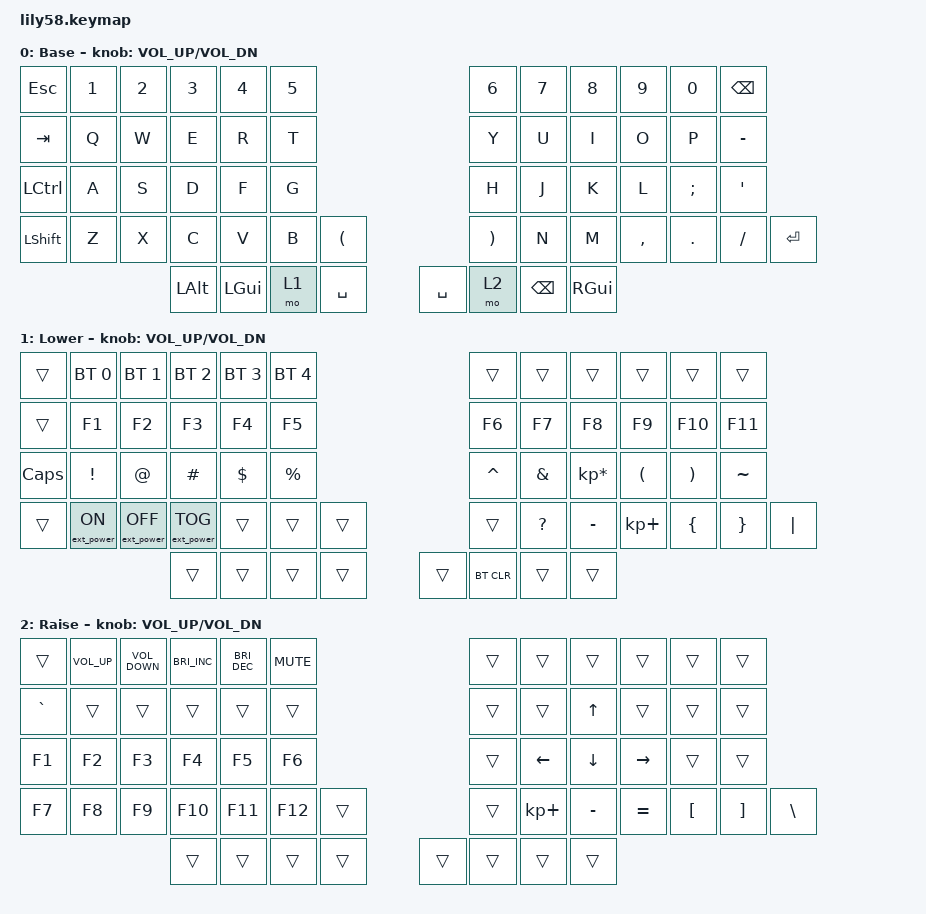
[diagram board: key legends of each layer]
/*
 * Copyright (c) 2020 The ZMK Contributors
 *
 * SPDX-License-Identifier: MIT
 */

#include <behaviors.dtsi>
#include <dt-bindings/zmk/keys.h>
#include <dt-bindings/zmk/bt.h>
#include <dt-bindings/zmk/ext_power.h>

/ {
    keymap {
        compatible = "zmk,keymap";

        default_layer {
// ------------------------------------------------------------------------------------------------------------
// |  ESC  |  1  |  2  |  3   |  4   |  5   |                   |  6   |  7    |  8    |  9   |   0   |   `   |
// |  TAB  |  Q  |  W  |  E   |  R   |  T   |                   |  Y   |  U    |  I    |  O   |   P   |   -   |
// |  CTRL |  A  |  S  |  D   |  F   |  G   |                   |  H   |  J    |  K    |  L   |   ;   |   '   |
// | SHIFT |  Z  |  X  |  C   |  V   |  B   |   "["  |  |  "]"  |  N   |  M    |  ,    |  .   |   /   | ENTER |
//                     | ALT  | GUI  | LOWER|  SPACE |  | SPACE | RAISE| BSPC  | GUI   |
label = "Base";
            bindings = <
&kp ESC   &kp N1 &kp N2 &kp N3   &kp N4   &kp N5                     &kp N6 &kp N7   &kp N8    &kp N9  &kp N0   &kp BSPC
&kp TAB   &kp Q  &kp W  &kp E    &kp R    &kp T                      &kp Y  &kp U    &kp I     &kp O   &kp P    &kp MINUS
&kp LCTRL &kp A  &kp S  &kp D    &kp F    &kp G                      &kp H  &kp J    &kp K     &kp L   &kp SEMI &kp SQT
&kp LSHFT &kp Z  &kp X  &kp C    &kp V    &kp B  &kp LEFT_PARENTHESIS   &kp RIGHT_PARENTHESIS &kp N  &kp M    &kp COMMA &kp DOT &kp FSLH &kp RET
                        &kp LALT &kp LGUI &mo 1  &kp SPACE  &kp SPACE  &mo 2  &kp BSPC &kp RGUI
            >;

            sensor-bindings = <&inc_dec_kp C_VOL_UP C_VOL_DN>;
        };

        lower_layer {
// ------------------------------------------------------------------------------------------------------------
// | BTCLR | BT1 | BT2 |  BT3 |  BT4 |  BT5 |                   |      |       |       |      |       |       |
// |  F1   |  F2 |  F3 |  F4  |  F5  |  F6  |                   |  F7  |  F8   |  F9   |  F10 |  F11  |  F12  |
// |  CAPSLOCK  |  !  |  @  |  #   |  $   |  %   |                   |  ^   |  &    |  *    |  (   |   )   |   ~   |
// |       |     |     |      |      |      |        |  |       |      |  _    |  +    |  {   |   }   |  "|"  |
//                     |      |      |      |        |  |       |      |       |       |
label = "Lower";
            bindings = <
&trans &bt BT_SEL 0     &bt BT_SEL 1      &bt BT_SEL 2      &bt BT_SEL 3 &bt BT_SEL 4                 &trans    &trans    &trans          &trans    &trans    &trans
&trans &kp F1           &kp F2           &kp F3            &kp F4      &kp F5                      &kp F6    &kp F7    &kp F8          &kp F9   &kp F10   &kp F11
&kp CAPSLOCK  &kp EXCL         &kp AT            &kp HASH          &kp DOLLAR   &kp PRCNT                    &kp CARET &kp AMPS  &kp KP_MULTIPLY &kp LPAR  &kp RPAR  &kp TILDE
&trans     &ext_power EP_ON &ext_power EP_OFF &ext_power EP_TOG &trans       &trans    &trans   &trans    &kp QMARK    &kp MINUS &kp KP_PLUS     &kp LBRC  &kp RBRC  &kp PIPE
                                              &trans            &trans       &trans    &trans   &trans    &bt BT_CLR   &trans    &trans
            >;

            sensor-bindings = <&inc_dec_kp C_VOL_UP C_VOL_DN>;
        };

        raise_layer {
// ------------------------------------------------------------------------------------------------------------
// |       |     |     |      |      |      |                   |      |       |       |      |       |       |
// |   `   |  1  |  2  |  3   |  4   |  5   |                   |  6   |   7   |   8   |  9   |   0   |       |
// |   F1  |  F2 |  F3 |  F4  |  F5  |  F6  |                   |      |   <-  |   v   |  ^   |  ->   |       |
// |   F7  |  F8 |  F9 |  F10 |  F11 |  F12 |        |  |       |  +   |   -   |   =   |  [   |   ]   |   \   |
//                     |      |      |      |        |  |       |      |       |       |
 label = "Raise";
            bindings = <
&trans    &kp C_VOLUME_UP &kp C_VOLUME_DOWN &kp C_BRIGHTNESS_INC  &kp C_BRIGHTNESS_DEC  &kp C_MUTE             &trans      &trans    &trans    &trans   &trans    &trans
&kp GRAVE &trans &trans &trans &trans  &trans                     &trans      &trans    &kp UP   &trans  &trans   &trans
&kp F1    &kp F2 &kp F3 &kp F4  &kp F5  &kp F6                       &trans      &kp LEFT  &kp DOWN  &kp RIGHT   &trans &trans
&kp F7    &kp F8 &kp F9 &kp F10 &kp F11 &kp F12   &trans   &trans    &kp KP_PLUS &kp MINUS &kp EQUAL &kp LBKT &kp RBKT  &kp BSLH
                        &trans  &trans  &trans    &trans   &trans    &trans      &trans    &trans
            >;

            sensor-bindings = <&inc_dec_kp C_VOL_UP C_VOL_DN>;
        };
    };
};
